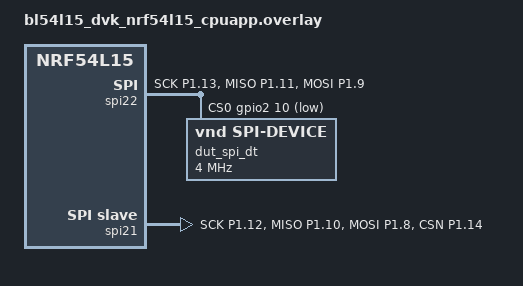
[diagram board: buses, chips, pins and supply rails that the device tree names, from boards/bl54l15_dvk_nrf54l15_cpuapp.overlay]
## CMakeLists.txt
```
# SPDX-License-Identifier: Apache-2.0

cmake_minimum_required(VERSION 3.28.0)

find_package(Zephyr REQUIRED HINTS $ENV{ZEPHYR_BASE})
project(spi_error_cases)

FILE(GLOB app_sources src/*.c)

target_sources(app PRIVATE ${app_sources})
```

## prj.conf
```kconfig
CONFIG_SPI=y
CONFIG_SPI_PERIPHERAL=y
CONFIG_GPIO=y
CONFIG_POLL=y
CONFIG_SPI_ASYNC=y
CONFIG_SPI_EXTENDED_MODES=y
CONFIG_ZTEST=y
```

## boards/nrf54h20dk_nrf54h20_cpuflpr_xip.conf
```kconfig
# Copyright (c) 2026 Nordic Semiconductor ASA
#
# SPDX-License-Identifier: Apache-2.0
#

CONFIG_GPIO_NRFX_INTERRUPT=n
CONFIG_NRFX_GPIOTE=y
```

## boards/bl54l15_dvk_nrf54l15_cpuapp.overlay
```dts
/*
 * Copyright (c) 2024 Nordic Semiconductor
 * Copyright (c) 2025 Ezurio LLC
 *
 * SPDX-License-Identifier: Apache-2.0
 */

&pinctrl {
	spi22_default_alt: spi22_default_alt {
		group1 {
			psels = <NRF_PSEL(SPIM_SCK, 1, 13)>,
				<NRF_PSEL(SPIM_MISO, 1, 11)>,
				<NRF_PSEL(SPIM_MOSI, 1, 9)>;
		};
	};

	spi22_sleep_alt: spi22_sleep_alt {
		group1 {
			psels = <NRF_PSEL(SPIM_SCK, 1, 13)>,
				<NRF_PSEL(SPIM_MISO, 1, 11)>,
				<NRF_PSEL(SPIM_MOSI, 1, 9)>;
			low-power-enable;
		};
	};

	spi21_default_alt: spi21_default_alt {
		group1 {
			psels = <NRF_PSEL(SPIS_SCK, 1, 12)>,
				<NRF_PSEL(SPIS_MISO, 1, 10)>,
				<NRF_PSEL(SPIS_MOSI, 1, 8)>,
				<NRF_PSEL(SPIS_CSN, 1, 14)>;
		};
	};

	spi21_sleep_alt: spi21_sleep_alt {
		group1 {
			psels = <NRF_PSEL(SPIS_SCK, 1, 12)>,
				<NRF_PSEL(SPIS_MISO, 1, 10)>,
				<NRF_PSEL(SPIS_MOSI, 1, 8)>,
				<NRF_PSEL(SPIS_CSN, 1, 14)>;
			low-power-enable;
		};
	};
};

&gpio2 {
	status = "okay";
};

&spi22 {
	pinctrl-0 = <&spi22_default_alt>;
	pinctrl-1 = <&spi22_sleep_alt>;
	pinctrl-names = "default", "sleep";
	overrun-character = <0x00>;
	cs-gpios = <&gpio2 10 GPIO_ACTIVE_LOW>;
	status = "okay";

	dut_spi_dt: test-spi-dev@0 {
		compatible = "vnd,spi-device";
		reg = <0>;
		spi-max-frequency = <4000000>;
	};
};

dut_spis: &spi21 {
	compatible = "nordic,nrf-spis";
	def-char = <0x00>;
	pinctrl-0 = <&spi21_default_alt>;
	pinctrl-1 = <&spi21_sleep_alt>;
	pinctrl-names = "default", "sleep";
	status = "okay";
	/delete-property/ rx-delay-supported;
	/delete-property/ rx-delay;
};
```

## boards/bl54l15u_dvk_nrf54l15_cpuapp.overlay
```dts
/*
 * Copyright (c) 2024 Nordic Semiconductor
 * Copyright (c) 2025 Ezurio LLC
 *
 * SPDX-License-Identifier: Apache-2.0
 */

&pinctrl {
	spi22_default_alt: spi22_default_alt {
		group1 {
			psels = <NRF_PSEL(SPIM_SCK, 1, 13)>,
				<NRF_PSEL(SPIM_MISO, 1, 11)>,
				<NRF_PSEL(SPIM_MOSI, 1, 9)>;
		};
	};

	spi22_sleep_alt: spi22_sleep_alt {
		group1 {
			psels = <NRF_PSEL(SPIM_SCK, 1, 13)>,
				<NRF_PSEL(SPIM_MISO, 1, 11)>,
				<NRF_PSEL(SPIM_MOSI, 1, 9)>;
			low-power-enable;
		};
	};

	spi21_default_alt: spi21_default_alt {
		group1 {
			psels = <NRF_PSEL(SPIS_SCK, 1, 12)>,
				<NRF_PSEL(SPIS_MISO, 1, 10)>,
				<NRF_PSEL(SPIS_MOSI, 1, 8)>,
				<NRF_PSEL(SPIS_CSN, 1, 14)>;
		};
	};

	spi21_sleep_alt: spi21_sleep_alt {
		group1 {
			psels = <NRF_PSEL(SPIS_SCK, 1, 12)>,
				<NRF_PSEL(SPIS_MISO, 1, 10)>,
				<NRF_PSEL(SPIS_MOSI, 1, 8)>,
				<NRF_PSEL(SPIS_CSN, 1, 14)>;
			low-power-enable;
		};
	};
};

&gpio2 {
	status = "okay";
};

&spi22 {
	status = "okay";
	pinctrl-0 = <&spi22_default_alt>;
	pinctrl-1 = <&spi22_sleep_alt>;
	pinctrl-names = "default", "sleep";
	overrun-character = <0x00>;
	cs-gpios = <&gpio2 10 GPIO_ACTIVE_LOW>;

	dut_spi_dt: test-spi-dev@0 {
		compatible = "vnd,spi-device";
		reg = <0>;
		spi-max-frequency = <4000000>;
	};
};

dut_spis: &spi21 {
	compatible = "nordic,nrf-spis";
	status = "okay";
	def-char = <0x00>;
	pinctrl-0 = <&spi21_default_alt>;
	pinctrl-1 = <&spi21_sleep_alt>;
	pinctrl-names = "default", "sleep";
	/delete-property/ rx-delay-supported;
	/delete-property/ rx-delay;
};
```

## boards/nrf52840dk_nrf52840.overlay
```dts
/*
 * Copyright (c) 2024 Nordic Semiconductor
 *
 * SPDX-License-Identifier: Apache-2.0
 */

&pinctrl {
	spi3_default_alt: spi3_default_alt {
		group1 {
			psels = <NRF_PSEL(SPIM_SCK, 1, 1)>,
				<NRF_PSEL(SPIM_MISO, 1, 3)>,
				<NRF_PSEL(SPIM_MOSI, 1, 7)>;
		};
	};

	spi3_sleep_alt: spi3_sleep_alt {
		group1 {
			psels = <NRF_PSEL(SPIM_SCK, 1, 1)>,
				<NRF_PSEL(SPIM_MISO, 1, 3)>,
				<NRF_PSEL(SPIM_MOSI, 1, 7)>;
			low-power-enable;
		};
	};

	spi1_default_alt: spi1_default_alt {
		group1 {
			psels = <NRF_PSEL(SPIS_SCK, 1, 2)>,
				<NRF_PSEL(SPIS_MISO, 1, 4)>,
				<NRF_PSEL(SPIS_MOSI, 1, 8)>,
				<NRF_PSEL(SPIS_CSN, 1, 10)>;
		};
	};

	spi1_sleep_alt: spi1_sleep_alt {
		group1 {
			psels = <NRF_PSEL(SPIS_SCK, 1, 2)>,
				<NRF_PSEL(SPIS_MISO, 1, 4)>,
				<NRF_PSEL(SPIS_MOSI, 1, 8)>,
				<NRF_PSEL(SPIS_CSN, 1, 10)>;
			low-power-enable;
		};
	};
};

&spi3 {
	pinctrl-0 = <&spi3_default_alt>;
	pinctrl-1 = <&spi3_sleep_alt>;
	pinctrl-names = "default", "sleep";
	overrun-character = <0x00>;
	cs-gpios = <&gpio1 11 GPIO_ACTIVE_LOW>;
	status = "okay";

	dut_spi_dt: test-spi-dev@0 {
		compatible = "vnd,spi-device";
		reg = <0>;
		spi-max-frequency = <4000000>;
	};
};

dut_spis: &spi1 {
	compatible = "nordic,nrf-spis";
	def-char = <0x00>;
	pinctrl-0 = <&spi1_default_alt>;
	pinctrl-1 = <&spi1_sleep_alt>;
	pinctrl-names = "default", "sleep";
	status = "okay";
};
```

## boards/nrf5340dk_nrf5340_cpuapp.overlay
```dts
/*
 * Copyright (c) 2026 Nordic Semiconductor
 *
 * SPDX-License-Identifier: Apache-2.0
 */

&pinctrl {
	spi2_default_alt: spi2_default_alt {
		group1 {
			psels = <NRF_PSEL(SPIM_SCK, 0, 4)>,
				<NRF_PSEL(SPIM_MISO, 1, 4)>,
				<NRF_PSEL(SPIM_MOSI, 1, 8)>;
		};
	};

	spi2_sleep_alt: spi2_sleep_alt {
		group1 {
			psels = <NRF_PSEL(SPIM_SCK, 0, 4)>,
				<NRF_PSEL(SPIM_MISO, 1, 4)>,
				<NRF_PSEL(SPIM_MOSI, 1, 8)>;
			low-power-enable;
		};
	};

	spi1_default_alt: spi1_default_alt {
		group1 {
			psels = <NRF_PSEL(SPIS_SCK, 0, 5)>,
				<NRF_PSEL(SPIS_MISO, 1, 5)>,
				<NRF_PSEL(SPIS_MOSI, 1, 9)>,
				<NRF_PSEL(SPIS_CSN, 0, 7)>;
		};
	};

	spi1_sleep_alt: spi1_sleep_alt {
		group1 {
			psels = <NRF_PSEL(SPIS_SCK, 0, 5)>,
				<NRF_PSEL(SPIS_MISO, 1, 5)>,
				<NRF_PSEL(SPIS_MOSI, 1, 9)>,
				<NRF_PSEL(SPIS_CSN, 0, 7)>;
			low-power-enable;
		};
	};
};

&spi2 {
	pinctrl-0 = <&spi2_default_alt>;
	pinctrl-1 = <&spi2_sleep_alt>;
	pinctrl-names = "default", "sleep";
	overrun-character = <0x00>;
	cs-gpios = <&gpio0 6 GPIO_ACTIVE_LOW>;
	zephyr,pm-device-runtime-auto;
	status = "okay";

	dut_spi_dt: test-spi-dev@0 {
		compatible = "vnd,spi-device";
		reg = <0>;
		spi-max-frequency = <DT_FREQ_M(8)>;
	};
};

dut_spis: &spi1 {
	compatible = "nordic,nrf-spis";
	def-char = <0x00>;
	pinctrl-0 = <&spi1_default_alt>;
	pinctrl-1 = <&spi1_sleep_alt>;
	pinctrl-names = "default", "sleep";
	zephyr,pm-device-runtime-auto;
	status = "okay";
};

&gpio0 {
	status = "okay";
};
```

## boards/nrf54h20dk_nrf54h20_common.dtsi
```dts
/*
 * Copyright (c) 2024 Nordic Semiconductor
 *
 * SPDX-License-Identifier: Apache-2.0
 */

&pinctrl {
	spi130_default_alt: spi130_default_alt {
		group1 {
			psels = <NRF_PSEL(SPIM_SCK, 0, 0)>,
				<NRF_PSEL(SPIM_MISO, 0, 6)>,
				<NRF_PSEL(SPIM_MOSI, 0, 8)>;
		};
	};

	spi130_sleep_alt: spi130_sleep_alt {
		group1 {
			psels = <NRF_PSEL(SPIM_SCK, 0, 0)>,
				<NRF_PSEL(SPIM_MISO, 0, 6)>,
				<NRF_PSEL(SPIM_MOSI, 0, 8)>;
			low-power-enable;
		};
	};

	spis131_default_alt: spis131_default_alt {
		group1 {
			psels = <NRF_PSEL(SPIS_SCK, 0, 1)>,
				<NRF_PSEL(SPIS_MISO, 0, 7)>,
				<NRF_PSEL(SPIS_MOSI, 0, 9)>,
				<NRF_PSEL(SPIS_CSN, 0, 11)>;
		};
	};

	spis131_sleep_alt: spis131_sleep_alt {
		group1 {
			psels = <NRF_PSEL(SPIS_SCK, 0, 1)>,
				<NRF_PSEL(SPIS_MISO, 0, 7)>,
				<NRF_PSEL(SPIS_MOSI, 0, 9)>,
				<NRF_PSEL(SPIS_CSN, 0, 11)>;
			low-power-enable;
		};
	};
};

&gpiote130 {
	status = "okay";
};

&gpio0 {
	status = "okay";
};

&spi130 {
	compatible = "nordic,nrf-spim";
	status = "okay";
	pinctrl-0 = <&spi130_default_alt>;
	pinctrl-1 = <&spi130_sleep_alt>;
	pinctrl-names = "default", "sleep";
	overrun-character = <0x00>;
	cs-gpios = <&gpio0 10 GPIO_ACTIVE_LOW>;

	dut_spi_dt: test-spi-dev@0 {
		compatible = "vnd,spi-device";
		reg = <0>;
		spi-max-frequency = <500000>;
	};
};

dut_spis: &spi131 {
	compatible = "nordic,nrf-spis";
	status = "okay";
	def-char = <0x00>;
	pinctrl-0 = <&spis131_default_alt>;
	pinctrl-1 = <&spis131_sleep_alt>;
	pinctrl-names = "default", "sleep";
	/delete-property/ rx-delay-supported;
	/delete-property/ rx-delay;
};
```

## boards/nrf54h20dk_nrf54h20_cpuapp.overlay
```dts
/*
 * Copyright (c) 2024 Nordic Semiconductor
 *
 * SPDX-License-Identifier: Apache-2.0
 */

#include "nrf54h20dk_nrf54h20_common.dtsi"

&spi130 {
	memory-regions = <&cpuapp_dma_region>;
};

dut_spis: &spi131 {
	memory-regions = <&cpuapp_dma_region>;
};
```

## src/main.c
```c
/*
 * Copyright (c) 2024 Nordic Semiconductor ASA
 *
 * SPDX-License-Identifier: Apache-2.0
 */

#include <errno.h>
#include <string.h>
#include <zephyr/kernel.h>
#include <zephyr/drivers/spi.h>
#include <zephyr/linker/devicetree_regions.h>
#include <zephyr/ztest.h>

#define SPI_MODE (SPI_MODE_CPOL | SPI_WORD_SET(8) | SPI_LINES_SINGLE)
#define SPIM_OP	 (SPI_OP_MODE_CONTROLLER | SPI_MODE)
#define SPIS_OP	 (SPI_OP_MODE_PERIPHERAL | SPI_MODE)

static struct spi_dt_spec spim = SPI_DT_SPEC_GET(DT_NODELABEL(dut_spi_dt), SPIM_OP);
static const struct device *spis_dev = DEVICE_DT_GET(DT_NODELABEL(dut_spis));
static const struct spi_config spis_config = {
	.operation = SPIS_OP
};

#define MEMORY_SECTION(node)                                                                       \
	COND_CODE_1(DT_NODE_HAS_PROP(node, memory_regions),                                        \
		    (__attribute__((__section__(                                                   \
			    LINKER_DT_NODE_REGION_NAME(DT_PHANDLE(node, memory_regions)))))),      \
		    ())

static uint8_t spim_buffer[32] MEMORY_SECTION(DT_BUS(DT_NODELABEL(dut_spi_dt)));
static uint8_t spis_buffer[32] MEMORY_SECTION(DT_NODELABEL(dut_spis));

struct test_data {
	int spim_alloc_idx;
	int spis_alloc_idx;
	struct spi_buf_set sets[4];
	struct spi_buf_set *mtx_set;
	struct spi_buf_set *mrx_set;
	struct spi_buf_set *stx_set;
	struct spi_buf_set *srx_set;
	struct spi_buf bufs[4];
};

static struct test_data tdata;

/* Allocate buffer from spim or spis space. */
static uint8_t *buf_alloc(size_t len, bool spim)
{
	int *idx = spim ? &tdata.spim_alloc_idx : &tdata.spis_alloc_idx;
	uint8_t *buf = spim ? spim_buffer : spis_buffer;
	size_t total = spim ? sizeof(spim_buffer) : sizeof(spis_buffer);
	uint8_t *rv;

	if (*idx + len > total) {
		zassert_false(true);

		return NULL;
	}

	rv = &buf[*idx];
	*idx += len;

	return rv;
}

ZTEST(spi_error_cases, test_SPI_HALF_DUPLEX_not_supported)
{
	int rv;
	int peripheral_rv;
	struct spi_dt_spec spim_invalid = spim;
	struct spi_config spis_config_invalid = spis_config;

	spim_invalid.config.operation |= SPI_HALF_DUPLEX;
	spis_config_invalid.operation |= SPI_HALF_DUPLEX;

	rv = spi_transceive_dt(&spim_invalid, tdata.stx_set, tdata.srx_set);
	zassert_equal(rv, -ENOTSUP, "Got %d instead", rv);
	peripheral_rv =
		spi_transceive(spis_dev, &spis_config_invalid, tdata.stx_set, tdata.srx_set);
	zassert_equal(peripheral_rv, -ENOTSUP, "Got %d instead", peripheral_rv);
}

ZTEST(spi_error_cases, test_SPI_OP_MODE_invalid)
{
	int rv;
	int peripheral_rv;
	struct spi_dt_spec spim_invalid = spim;
	struct spi_config spis_config_invalid = spis_config;

	spim_invalid.config.operation |= SPI_OP_MODE_PERIPHERAL;
	spis_config_invalid.operation &= !SPI_OP_MODE_PERIPHERAL;

	/* Check that Operation Mode Peripheral on spim is not supported */
	rv = spi_transceive_dt(&spim_invalid, tdata.stx_set, tdata.srx_set);
	zassert_equal(rv, -EINVAL, "Got %d instead", rv);
	/* Check that Operation Mode Controller on spis is not supported */
	peripheral_rv =
		spi_transceive(spis_dev, &spis_config_invalid, tdata.stx_set, tdata.srx_set);
	zassert_equal(peripheral_rv, -EINVAL, "Got %d instead", peripheral_rv);
}

ZTEST(spi_error_cases, test_SPI_MODE_LOOP_not_supported)
{
	int rv;
	int peripheral_rv;
	struct spi_dt_spec spim_invalid = spim;
	struct spi_config spis_config_invalid = spis_config;

	spim_invalid.config.operation |= SPI_MODE_LOOP;
	spis_config_invalid.operation |= SPI_MODE_LOOP;

	rv = spi_transceive_dt(&spim_invalid, tdata.stx_set, tdata.srx_set);
	zassert_equal(rv, -EINVAL, "Got %d instead", rv);
	peripheral_rv =
		spi_transceive(spis_dev, &spis_config_invalid, tdata.stx_set, tdata.srx_set);
	zassert_equal(peripheral_rv, -EINVAL, "Got %d instead", peripheral_rv);
}

ZTEST(spi_error_cases, test_only_SPI_LINES_SINGLE_supported)
{
	int rv;
	int peripheral_rv;
	struct spi_dt_spec spim_invalid = spim;
	struct spi_config spis_config_invalid = spis_config;

	spim_invalid.config.operation |= SPI_LINES_DUAL;
	spis_config_invalid.operation |= SPI_LINES_DUAL;

	rv = spi_transceive_dt(&spim_invalid, tdata.stx_set, tdata.srx_set);
	zassert_equal(rv, -EINVAL, "Got %d instead", rv);
	peripheral_rv =
		spi_transceive(spis_dev, &spis_config_invalid, tdata.stx_set, tdata.srx_set);
	zassert_equal(peripheral_rv, -EINVAL, "Got %d instead", peripheral_rv);

	spim_invalid = spim;
	spis_config_invalid = spis_config;
	spim_invalid.config.operation |= SPI_LINES_QUAD;
	spis_config_invalid.operation |= SPI_LINES_QUAD;

	rv = spi_transceive_dt(&spim_invalid, tdata.stx_set, tdata.srx_set);
	zassert_equal(rv, -EINVAL, "Got %d instead", rv);
	peripheral_rv =
		spi_transceive(spis_dev, &spis_config_invalid, tdata.stx_set, tdata.srx_set);
	zassert_equal(peripheral_rv, -EINVAL, "Got %d instead", peripheral_rv);

	spim_invalid = spim;
	spis_config_invalid = spis_config;
	spim_invalid.config.operation |= SPI_LINES_OCTAL;
	spis_config_invalid.operation |= SPI_LINES_OCTAL;

	rv = spi_transceive_dt(&spim_invalid, tdata.stx_set, tdata.srx_set);
	zassert_equal(rv, -EINVAL, "Got %d instead", rv);
	peripheral_rv =
		spi_transceive(spis_dev, &spis_config_invalid, tdata.stx_set, tdata.srx_set);
	zassert_equal(peripheral_rv, -EINVAL, "Got %d instead", peripheral_rv);
}

ZTEST(spi_error_cases, test_only_8BIT_supported)
{
	int rv;
	int peripheral_rv;
	struct spi_dt_spec spim_invalid = spim;
	struct spi_config spis_config_invalid = spis_config;

	spim_invalid.config.operation |= SPI_WORD_SET(16);
	spis_config_invalid.operation |= SPI_WORD_SET(16);

	rv = spi_transceive_dt(&spim_invalid, tdata.stx_set, tdata.srx_set);
	zassert_equal(rv, -EINVAL, "Got %d instead", rv);
	peripheral_rv =
		spi_transceive(spis_dev, &spis_config_invalid, tdata.stx_set, tdata.srx_set);
	zassert_equal(peripheral_rv, -EINVAL, "Got %d instead", peripheral_rv);
}

ZTEST(spi_error_cases, test_unsupported_frequency)
{
	int rv;
	struct spi_dt_spec spim_invalid = spim;

	spim_invalid.config.frequency = 124999;

	rv = spi_transceive_dt(&spim_invalid, tdata.stx_set, tdata.srx_set);
	zassert_equal(rv, -EINVAL, "Got %d instead", rv);
}

ZTEST(spi_error_cases, test_spis_scattered_tx_buf_not_supported)
{
	int peripheral_rv;

	tdata.sets[2].count = 2;
	peripheral_rv = spi_transceive(spis_dev, &spis_config, tdata.stx_set, tdata.srx_set);
	zassert_equal(peripheral_rv, -ENOTSUP, "Got %d instead", peripheral_rv);
}

ZTEST(spi_error_cases, test_spis_scattered_rx_buf_not_supported)
{
	int peripheral_rv;

	tdata.sets[3].count = 2;
	peripheral_rv = spi_transceive(spis_dev, &spis_config, tdata.stx_set, tdata.srx_set);
	zassert_equal(peripheral_rv, -ENOTSUP, "Got %d instead", peripheral_rv);
}

ZTEST(spi_error_cases, test_spis_tx_buf_too_big)
{
	int peripheral_rv;

	tdata.bufs[2].len = (size_t)65536;
	peripheral_rv = spi_transceive(spis_dev, &spis_config, tdata.stx_set, tdata.srx_set);
	zassert_equal(peripheral_rv, -EINVAL, "Got %d instead", peripheral_rv);
}

ZTEST(spi_error_cases, test_spis_rx_buf_too_big)
{
	int peripheral_rv;

	tdata.bufs[3].len = (size_t)65536;
	peripheral_rv = spi_transceive(spis_dev, &spis_config, tdata.stx_set, tdata.srx_set);
	zassert_equal(peripheral_rv, -EINVAL, "Got %d instead", peripheral_rv);
}

ZTEST(spi_error_cases, test_spis_tx_buf_not_in_ram)
{
	int peripheral_rv;

	tdata.bufs[2].buf = (void *)0x12345678;
	peripheral_rv = spi_transceive(spis_dev, &spis_config, tdata.stx_set, tdata.srx_set);
	zassert_equal(peripheral_rv, -ENOTSUP, "Got %d instead", peripheral_rv);
}

static void before(void *not_used)
{
	ARG_UNUSED(not_used);
	size_t len = 16;

	memset(&tdata, 0, sizeof(tdata));
	for (size_t i = 0; i < sizeof(spim_buffer); i++) {
		spim_buffer[i] = (uint8_t)i;
	}
	for (size_t i = 0; i < sizeof(spis_buffer); i++) {
		spis_buffer[i] = (uint8_t)i;
	}

	for (int i = 0; i < 4; i++) {
		tdata.bufs[i].buf = buf_alloc(len, i < 2);
		tdata.bufs[i].len = len;
		tdata.sets[i].buffers = &tdata.bufs[i];
		tdata.sets[i].count = 1;
	}

	tdata.mtx_set = &tdata.sets[0];
	tdata.mrx_set = &tdata.sets[1];
	tdata.stx_set = &tdata.sets[2];
	tdata.srx_set = &tdata.sets[3];
}

static void *suite_setup(void)
{
	return NULL;
}

ZTEST_SUITE(spi_error_cases, NULL, suite_setup, before, NULL, NULL);
```
